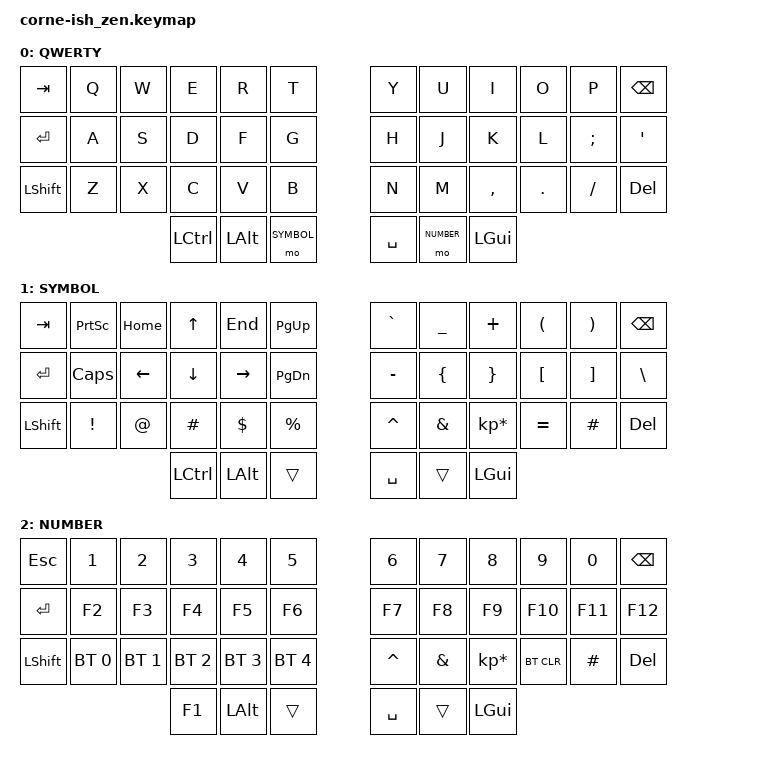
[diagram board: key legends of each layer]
/*
*
* Copyright (c) 2021 Darryl deHaan
* SPDX-License-Identifier: MIT
*
*/

#include <behaviors.dtsi>
#include <dt-bindings/zmk/keys.h>
#include <dt-bindings/zmk/bt.h>

#define QWERTY 0
#define SYMBOL 1
#define NUMBER 2

/ {
        keymap {
                compatible = "zmk,keymap";

                default_layer {
                        label = "QWERTY";
// -----------------------------------------------------------------------------------------
// |  TAB |  Q  |  W  |  E  |  R  |  T  |   |  Y  |  U   |  I  |  O  |  P  | BKSP |
// | ENTER|  A  |  S  |  D  |  F  |  G  |   |  H  |  J   |  K  |  L  |  ;  |  '   |
// | SHFT |  Z  |  X  |  C  |  V  |  B  |   |  N  |  M   |  ,  |  .  |  /  | DEL  |
//                    | CTRL| ALT | LWR |   |SPACE| RSE  | GUI |
                        bindings = <
   &kp TAB   &kp Q &kp W &kp E &kp R &kp T   &kp Y &kp U  &kp I     &kp O   &kp P    &kp BSPC
   &kp RET   &kp A &kp S &kp D &kp F &kp G   &kp H &kp J  &kp K     &kp L   &kp SEMI &kp SQT
   &kp LSHFT &kp Z &kp X &kp C &kp V &kp B   &kp N &kp M  &kp COMMA &kp DOT &kp FSLH &kp DEL
                  &kp LCTRL &kp LALT &mo SYMBOL   &kp SPACE &mo NUMBER &kp LGUI
                        >;
                };
                symbol_layer {
                        label = "SYMBOL";
// -----------------------------------------------------------------------------------------
// |  TAB |PRSCN| HOME| UP  | END | PGUP|   | `~  |  _  |  +  |  (  |  )  | BKSP |
// | ENTER| CAPS| LEFT| DOWN|RIGHT|PGDWN|   |  -_ |  {  |  }  |  [  |  ]  |  "|" |
// | SHFT |  !  |  @  |  #  |  $  |  %  |   |  ^  |  &  |  *  |  =  |  #  | DEL  |
//                    | CTRL| ALT |trans|   |SPACE|TRANS| GUI |
                        bindings = <
   &kp TAB  &kp PSCRN &kp HOME &kp UP   &kp END   &kp PG_UP      &kp GRAVE &kp UNDER &kp PLUS  &kp LPAR  &kp RPAR &kp BSPC
   &kp RET  &kp CAPS  &kp LEFT &kp DOWN &kp RIGHT &kp PG_DN      &kp MINUS &kp LBRC  &kp RBRC  &kp LBKT  &kp RBKT &kp BSLH
  &kp LSHFT &kp EXCL  &kp AT   &kp HASH &kp DLLR  &kp PRCNT      &kp CARET &kp AMPS  &kp KP_MULTIPLY &kp EQUAL &kp HASH &kp DEL
                    	      &kp LCTRL &kp LALT  &trans         &kp SPACE &trans    &kp LGUI
                        >;
                };
                number_layer {
						label = "NUMBER";
// -----------------------------------------------------------------------------------------
// |  ESC |  1  |  2  |  3  |  4  |  5  |   |  6  |  7  |  8  |  9  |  0  | BKSP |
// | ENTER| F2  | F3  | F4  | F5  | F6  |   | F7  | F8  | F9  | F10 | F11 | F12  |
// | SHIFT| BT1 | BT2 | BT3 | BT4 | BT5 |   |  ^  |  &  |  *  |BTCLR|  #  | DEL  |
//                    | F1  | ALT | trns|   |SPACE| trns| GUI |
                        bindings = <
   &kp ESC    &kp N1       &kp N2       &kp N3       &kp N4       &kp N5         &kp N6    &kp N7    &kp N8          &kp N9    &kp N0   &kp BSPC
   &kp RET    &kp F2       &kp F3       &kp F4       &kp F5       &kp F6         &kp F7    &kp F8    &kp F9          &kp F10   &kp F11  &kp F12
   &kp LSHFT  &bt BT_SEL 0 &bt BT_SEL 1 &bt BT_SEL 2 &bt BT_SEL 3 &bt BT_SEL 4   &kp CARET &kp AMPS  &kp KP_MULTIPLY &bt BT_CLR &kp HASH &kp DEL
                          	                  &kp F1 &kp LALT &trans             &kp SPACE &trans    &kp LGUI
                        >;
                };
        };
};
